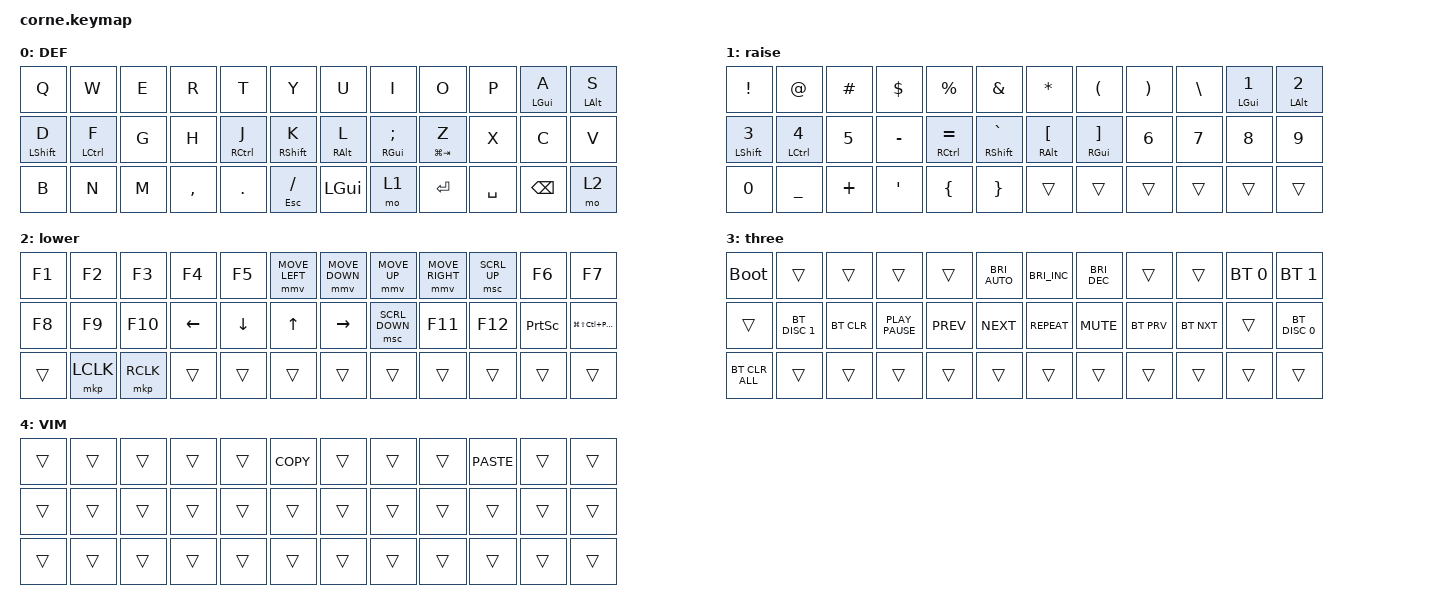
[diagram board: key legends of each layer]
/*
 * Copyright (c) 2020 The ZMK Contributors
 *
 * SPDX-License-Identifier: MIT
 */

#include <behaviors.dtsi>
#include <dt-bindings/zmk/bt.h>
#include <dt-bindings/zmk/keys.h>
#include <dt-bindings/zmk/pointing.h>

#define DEFAULT_L 0
#define KEYS_L 0 1 2 3 4 5 12 13 14 15 16 17 24 25 26 27 28 29
#define KEYS_R 6 7 8 9 10 11 18 19 20 21 22 23 30 31 32 33 34 35
#define THUMBS 36 37 38 39 40 41
#define HRM_PRIOR_IDLE_MS 150

&lt {
    quick-tap-ms = <200>;
    tapping-term-ms = <200>;
};

/ {
    chosen { zmk,matrix-transform = &five_column_transform; };

    behaviors {
        hm_l: hm_l {
            compatible = "zmk,behavior-hold-tap";
            label = "HM_L";
            bindings = <&kp>, <&kp>;

            #binding-cells = <2>;
            tapping-term-ms = <200>;
            quick-tap-ms = <200>;
            flavor = "balanced";
            hold-trigger-on-release;
            require-prior-idle-ms = <HRM_PRIOR_IDLE_MS>;
            hold-trigger-key-positions = <KEYS_L THUMBS>;
        };

        hm_r: hm_r {
            compatible = "zmk,behavior-hold-tap";
            label = "HM_R";
            bindings = <&kp>, <&kp>;

            #binding-cells = <2>;
            tapping-term-ms = <200>;
            quick-tap-ms = <200>;
            flavor = "balanced";
            hold-trigger-on-release;
            require-prior-idle-ms = <HRM_PRIOR_IDLE_MS>;
            hold-trigger-key-positions = <KEYS_L THUMBS>;
        };

        my_mt: my_mt {
            compatible = "zmk,behavior-hold-tap";
            label = "MY_MT";
            bindings = <&kp>, <&kp>;

            #binding-cells = <2>;
            tapping-term-ms = <200>;
            flavor = "tap-preferred";
        };
    };

    combos {
        compatible = "zmk,combos";

        capsword {
            bindings = <&caps_word>;
            key-positions = <12 17>;
        };

        tab {
            bindings = <&kp TAB>;
            key-positions = <1 2>;
        };

        escape {
            bindings = <&kp ESC>;
            key-positions = <7 8>;
        };
    };

    macros {
        thic_arrow: thic_arrow {
            compatible = "zmk,behavior-macro";
            #binding-cells = <0>;
            bindings = <&kp EQUAL &kp GT>;
            label = "THIC_ARROW";
        };

        thin_arrow: thin_arrow {
            compatible = "zmk,behavior-macro";
            #binding-cells = <0>;
            bindings = <&kp MINUS &kp GT>;
            label = "THIN_ARROW";
        };

        gte: gte {
            compatible = "zmk,behavior-macro";
            #binding-cells = <0>;
            bindings = <&kp GT &kp EQUAL>;
            label = "GTE";
        };

        lte: lte {
            compatible = "zmk,behavior-macro";
            #binding-cells = <0>;
            bindings = <&kp LT &kp EQUAL>;
            label = "LTE";
        };
    };

    keymap {
        compatible = "zmk,keymap";

        default_layer {
            bindings = <
&kp Q          &kp W          &kp E  &kp R      &kp T          &kp Y              &kp U         &kp I            &kp O             &kp P      &hm_l LGUI A  &hm_l LALT S
&hm_l LSHFT D  &hm_l LCTRL F  &kp G  &kp H      &hm_r RCTRL J  &hm_r RSHFT K      &hm_r RALT L  &hm_r RGUI SEMI  &my_mt LG(TAB) Z  &kp X      &kp C         &kp V
&kp B          &kp N          &kp M  &kp COMMA  &kp DOT        &my_mt ESC FSLH    &kp LGUI      &mo 1            &kp RET           &kp SPACE  &kp BSPC      &mo 2
            >;

            label = "DEF";
        };

        raise_layer {
            bindings = <
&kp EXCL        &kp AT          &kp HASH  &kp DLLR          &kp PRCNT          &kp AMPS             &kp STAR         &kp LPAR         &kp RPAR  &kp BSLH  &hm_l LGUI N1  &hm_l LALT N2
&hm_l LSHFT N3  &hm_l LCTRL N4  &kp N5    &kp MINUS         &hm_r RCTRL EQUAL  &hm_r RSHFT GRAVE    &hm_r RALT LBKT  &hm_r RGUI RBKT  &kp N6    &kp N7    &kp N8         &kp N9
&kp N0          &kp UNDER       &kp PLUS  &kp SINGLE_QUOTE  &kp LBRC           &kp RBRC             &trans           &trans           &trans    &trans    &trans         &trans
            >;

            label = "raise";
        };

        lower_layer {
            bindings = <
&kp F1  &kp F2     &kp F3     &kp F4    &kp F5    &mmv MOVE_LEFT    &mmv MOVE_DOWN  &mmv MOVE_UP    &mmv MOVE_RIGHT  &msc SCRL_UP  &kp F6     &kp F7
&kp F8  &kp F9     &kp F10    &kp LEFT  &kp DOWN  &kp UP            &kp RIGHT       &msc SCRL_DOWN  &kp F11          &kp F12       &kp PSCRN  &kp LG(LS(LC(PRINTSCREEN)))
&trans  &mkp LCLK  &mkp RCLK  &trans    &trans    &trans            &trans          &trans          &trans           &trans        &trans     &trans
            >;

            label = "lower";
        };

        three_layer {
            bindings = <
&bootloader     &trans         &trans      &trans            &trans      &kp C_BRIGHTNESS_AUTO    &kp C_BRIGHTNESS_INC  &kp C_BRIGHTNESS_DEC  &trans      &trans      &bt BT_SEL 0  &bt BT_SEL 1
&trans          &bt BT_DISC 1  &bt BT_CLR  &kp K_PLAY_PAUSE  &kp K_PREV  &kp K_NEXT               &kp C_REPEAT          &kp K_MUTE            &bt BT_PRV  &bt BT_NXT  &trans        &bt BT_DISC 0
&bt BT_CLR_ALL  &trans         &trans      &trans            &trans      &trans                   &trans                &trans                &trans      &trans      &trans        &trans
            >;

            label = "three";
        };

        VIM {
            bindings = <
&trans  &trans  &trans  &trans  &trans  &kp K_COPY    &trans  &trans  &trans  &kp K_PASTE  &trans  &trans
&trans  &trans  &trans  &trans  &trans  &trans        &trans  &trans  &trans  &trans       &trans  &trans
&trans  &trans  &trans  &trans  &trans  &trans        &trans  &trans  &trans  &trans       &trans  &trans
            >;

            label = "VIM";
        };
    };

    conditional_layers {
        compatible = "zmk,conditional-layers";

        if {
            if-layers = <1 2>;
            then-layer = <3>;
        };
    };
};
